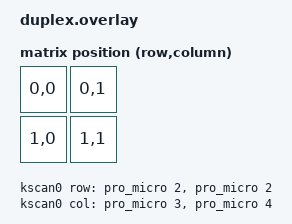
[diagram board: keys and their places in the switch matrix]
/ {
    chosen {
        zmk,kscan = &kscan0;
        zmk,matrix-transform = &default_transform;
    };

    default_transform: matrix_transform {
        compatible = "zmk,matrix-transform";
        rows = <2>;
        columns = <2>;
        map = <
            RC(0,0) RC(0,1)
            RC(1,0) RC(1,1)
        >;
    };

    kscan0: kscan {
        compatible = "zmk,kscan-gpio-matrix";
        diode-direction = "col2row";

        /* Pro Micro 핀 번호 기반 (D2, D3, D4 순서) */
        row-gpios
            = <&pro_micro 2 (GPIO_ACTIVE_HIGH | GPIO_PULL_DOWN)>
            , <&pro_micro 2 (GPIO_ACTIVE_HIGH | GPIO_PULL_DOWN)>
            ;

        col-gpios
            = <&pro_micro 3 GPIO_ACTIVE_HIGH>
            , <&pro_micro 4 GPIO_ACTIVE_HIGH>
            ;
    };
};
